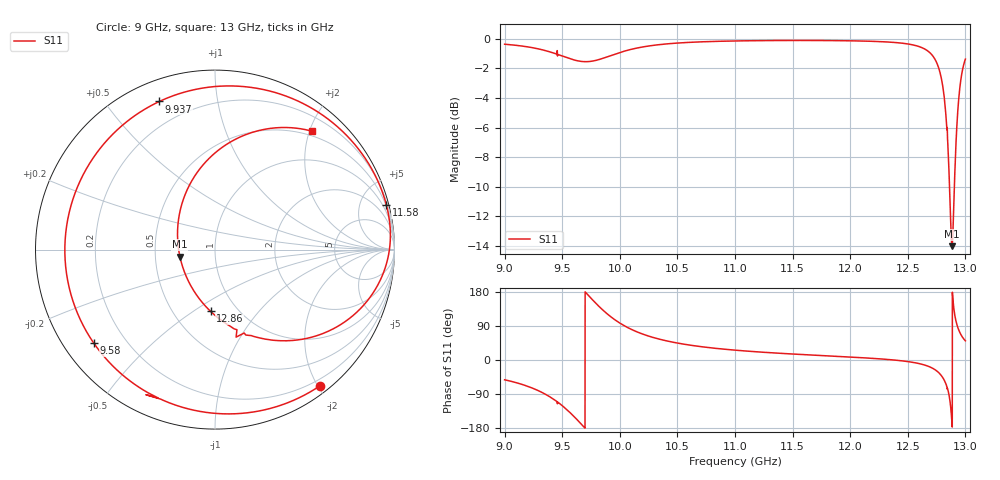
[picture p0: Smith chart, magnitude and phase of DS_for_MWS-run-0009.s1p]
! TOUCHSTONE file generated by CST DESIGN STUDIO
! Date and time: Tue Feb  4 18:18:05 2025
! Project name: C:\Work\MatlabApps\UnitCellOptimizationMatlab\CST\unitcell.cst
! Tree item: Tasks\Sweep1\SPara1\S-Parameters
! Header version: 2024
! Port assignment regex: !\s*Touchstone port\s*([0-9]+)\s*=\s*(CST MWS port|CST DES external port|CST DES block port)\s*(.+)\s* \(\"(.*)\"\)(\s*mode\s*([0-9]+))?.*
! Touchstone port assignment:
! Touchstone port 1 = CST DES external port 1 ("")
# GHz S MA R 50
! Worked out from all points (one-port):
!   4001 points, 9 GHz to 13 GHz, reference 50 ohm
!   lowest |S11| = -14.0 dB at 12.88 GHz (marker M1), VSWR 1.50, Z = 33.5 - j2.7 ohm
!   |S11| at or under -10 dB: 12.86245 GHz to 12.90423 GHz (41.78 MHz wide, 0.324 % of centre)
!   S11 on the Smith chart (normalised r, x): 9 GHz: 0.11, -2.04; 9.58 GHz: 0.09, -0.34; 9.937 GHz: 0.09, +0.69; 11.58 GHz: 0.42, +7.84; 12.86 GHz: 0.75, -0.59; 13 GHz: 0.42, +2.05
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9  0.9583 -52.2
9.257  0.9303 -76.1
9.393  0.9028 -97.2
9.5  0.8743 -120.4
9.58  0.8531 -142.3
9.663  0.8386 -168.3
9.739  0.838 166.6
9.841  0.8557 135.1
9.937  0.8816 110.6
10  0.8984 97.5
10.224  0.9417 65.7
10.5  0.9669 44.7
11  0.9828 26.0
11.5  0.9866 15.8
11.577  0.9866 14.5
12  0.984 7.8
12.5  0.9602 -4.2
12.652  0.9208 -13.8
12.741  0.8454 -26.6
12.783  0.7601 -38.1
12.818  0.6255 -54.3
12.839  0.4999 -70.7
12.859  0.3447 -94.1
12.884  0.1994 -168.8
12.908  0.3503 118.2
12.938  0.599 82.6
12.963  0.7382 66.0
13  0.8537 50.5
